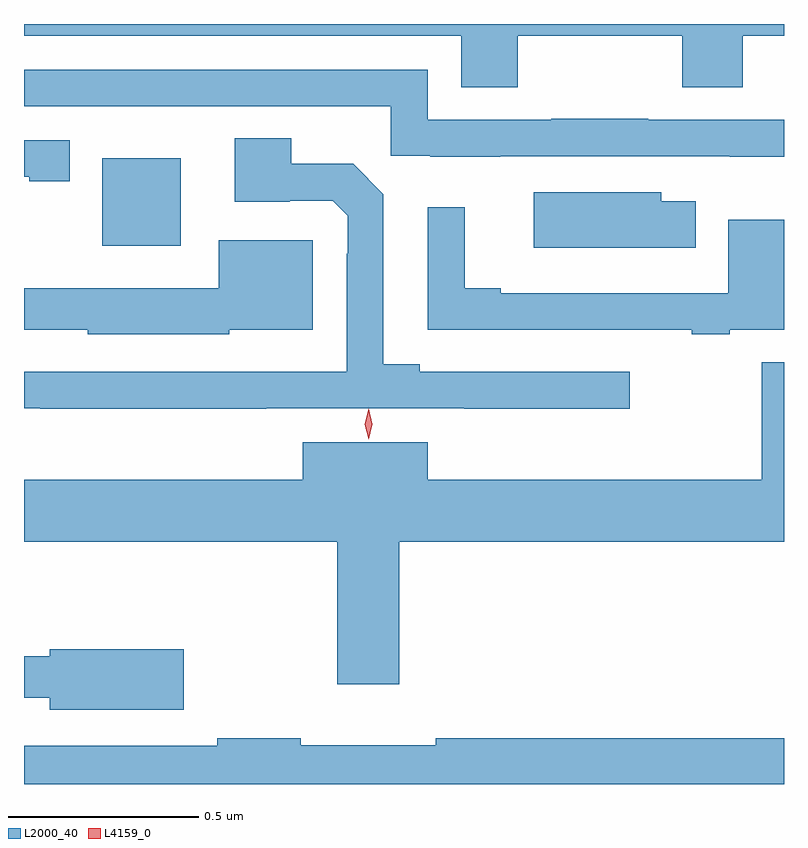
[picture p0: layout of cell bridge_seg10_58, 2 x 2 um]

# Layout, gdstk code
import gdstk
lib = gdstk.Library(unit=1e-6, precision=1e-09)
def R(c, l, rs):  # rectangles x0, y0, x1, y1
    for r in rs: c.add(gdstk.rectangle(r[:2], r[2:], *l))
def P(c, l, *ps):  # polygons
    for p in ps: c.add(gdstk.Polygon(p, *l))
L2000_40 = (2000, 40)
L4159_0 = (4159, 0)

bridge_seg10_58 = lib.new_cell('bridge_seg10_58')
R(bridge_seg10_58, L2000_40, [(847.706,1287.776,847.912,1288.006)])
P(bridge_seg10_58, L2000_40, [(848.799,1288.328),(849.232,1288.328),(849.232,1288.192),(849.392,1288.192),(849.392,1288.328),(849.5,1288.328),(849.5,1288.359),(847.5,1288.359),(847.5,1288.328),(848.651,1288.328),(848.651,1288.192),(848.799,1288.192)],
  [(848.753,1288.011),(849.357,1288.011),(849.357,1288.01),(849.5,1288.01),(849.5,1288.107),(849.143,1288.107),(849.143,1288.11),(848.887,1288.11),(848.887,1288.107),(848.562,1288.107),(848.562,1288.239),(847.5,1288.239),(847.5,1288.143),(847.714,1288.143),(847.714,1288.142),(847.908,1288.142),(847.908,1288.143),(848.465,1288.143),(848.465,1288.012),(848.569,1288.012),(848.569,1288.01),(848.753,1288.01)],
  [(848.138,1287.348),(848.659,1287.348),(848.659,1287.347),(849.094,1287.347),(849.094,1287.444),(848.542,1287.444),(848.542,1287.464),(848.446,1287.464),(848.446,1287.911),(848.366,1287.991),(848.203,1287.991),(848.203,1288.058),(848.055,1288.058),(848.055,1287.891),(848.199,1287.891),(848.199,1287.894),(848.313,1287.894),(848.352,1287.855),(848.352,1287.755),(848.349,1287.755),(848.349,1287.444),(847.5,1287.444),(847.5,1287.348),(847.543,1287.348),(847.543,1287.347),(848.138,1287.347)],
  [(847.621,1288.053),(847.5,1288.053),(847.5,1287.957),(847.514,1287.957),(847.514,1287.945),(847.621,1287.945)],
  [(849.268,1287.892),(849.177,1287.892),(849.177,1287.916),(848.841,1287.916),(848.841,1287.77),(849.268,1287.77)],
  [(849.357,1287.555),(849.457,1287.555),(849.457,1287.554),(849.5,1287.554),(849.5,1287.844),(849.353,1287.844),(849.353,1287.651),(848.755,1287.651),(848.755,1287.664),(848.66,1287.664),(848.66,1287.877),(848.562,1287.877),(848.562,1287.555),(849.257,1287.555),(849.257,1287.543),(849.357,1287.543)],
  [(848.04,1287.554),(848.26,1287.554),(848.26,1287.79),(848.012,1287.79),(848.012,1287.664),(847.5,1287.664),(847.5,1287.555),(847.668,1287.555),(847.668,1287.542),(848.04,1287.542)],
  [(848.488,1286.996),(849.5,1286.996),(849.5,1287.469),(849.442,1287.469),(849.442,1287.16),(848.563,1287.16),(848.563,1287.259),(848.234,1287.259),(848.234,1287.16),(847.5,1287.16),(847.5,1286.996),(848.324,1286.996),(848.324,1286.622),(848.488,1286.622)],
  [(847.921,1286.713),(847.568,1286.713),(847.568,1286.695),(847.5,1286.695),(847.5,1286.586),(847.568,1286.586),(847.568,1286.555),(847.921,1286.555)],
  [(849.5,1286.48),(848.584,1286.48),(848.584,1286.461),(848.228,1286.461),(848.228,1286.48),(848.008,1286.48),(848.008,1286.46),(847.5,1286.46),(847.5,1286.359),(849.5,1286.359)])
P(bridge_seg10_58, L4159_0, [(848.407,1287.266),(848.407,1287.266),(848.397,1287.306),(848.407,1287.346),(848.407,1287.347),(848.407,1287.346),(848.417,1287.306),(848.407,1287.266)])

lib.write_gds('bridge_seg10_58.gds')
